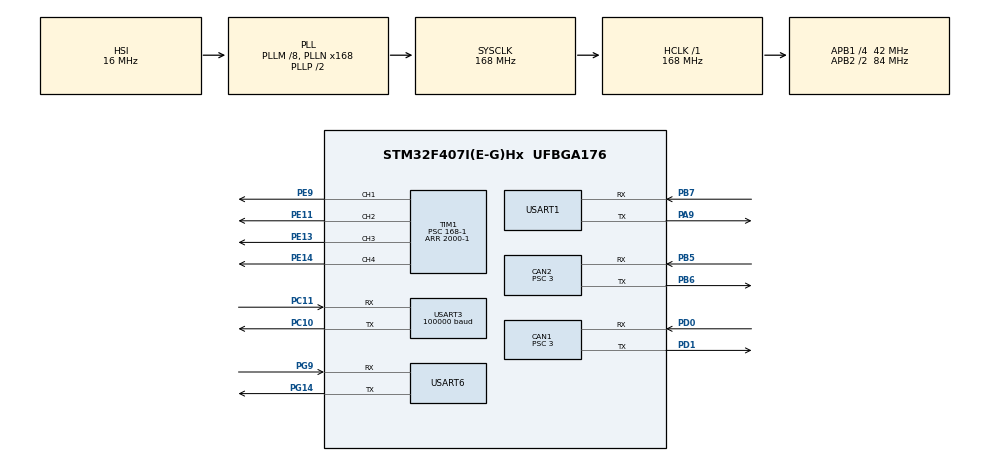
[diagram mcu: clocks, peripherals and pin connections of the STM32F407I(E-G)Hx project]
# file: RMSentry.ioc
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CAN1.BS1=CAN_BS1_10TQ
CAN1.BS2=CAN_BS2_3TQ
CAN1.CalculateTimeQuantum=71.42857142857143
CAN1.Prescaler=3
CAN2.BS1=CAN_BS1_10TQ
CAN2.BS2=CAN_BS2_3TQ
CAN2.CalculateTimeQuantum=71.42857142857143
CAN2.Prescaler=3
Dma.Request0=USART3_RX
Dma.Request1=USART6_RX
Dma.Request2=USART1_RX
Dma.USART1_RX.2.Direction=DMA_PERIPH_TO_MEMORY
Dma.USART1_RX.2.FIFOMode=DMA_FIFOMODE_DISABLE
Dma.USART1_RX.2.Instance=DMA2_Stream2
Dma.USART1_RX.2.MemDataAlignment=DMA_MDATAALIGN_BYTE
Dma.USART1_RX.2.MemInc=DMA_MINC_ENABLE
Dma.USART1_RX.2.Mode=DMA_CIRCULAR
Dma.USART1_RX.2.PeriphDataAlignment=DMA_PDATAALIGN_BYTE
Dma.USART1_RX.2.PeriphInc=DMA_PINC_DISABLE
Dma.USART1_RX.2.Priority=DMA_PRIORITY_MEDIUM
Dma.USART3_RX.0.Direction=DMA_PERIPH_TO_MEMORY
Dma.USART3_RX.0.FIFOMode=DMA_FIFOMODE_DISABLE
Dma.USART3_RX.0.Instance=DMA1_Stream1
Dma.USART3_RX.0.MemDataAlignment=DMA_MDATAALIGN_BYTE
Dma.USART3_RX.0.MemInc=DMA_MINC_ENABLE
Dma.USART3_RX.0.Mode=DMA_CIRCULAR
Dma.USART3_RX.0.PeriphDataAlignment=DMA_PDATAALIGN_BYTE
Dma.USART3_RX.0.PeriphInc=DMA_PINC_DISABLE
Dma.USART3_RX.0.Priority=DMA_PRIORITY_VERY_HIGH
Dma.USART6_RX.1.Direction=DMA_PERIPH_TO_MEMORY
Dma.USART6_RX.1.FIFOMode=DMA_FIFOMODE_DISABLE
Dma.USART6_RX.1.Instance=DMA2_Stream1
Dma.USART6_RX.1.MemDataAlignment=DMA_MDATAALIGN_BYTE
Dma.USART6_RX.1.MemInc=DMA_MINC_ENABLE
Dma.USART6_RX.1.Mode=DMA_CIRCULAR
Dma.USART6_RX.1.PeriphDataAlignment=DMA_PDATAALIGN_BYTE
Dma.USART6_RX.1.PeriphInc=DMA_PINC_DISABLE
Dma.USART6_RX.1.Priority=DMA_PRIORITY_VERY_HIGH
Mcu.Family=STM32F4
Mcu.Name=STM32F407I(E-G)Hx
Mcu.Package=UFBGA176
NVIC.CAN1_RX0_IRQn=true\:0\:0\:false\:false\:true\:true\:true
NVIC.CAN2_RX0_IRQn=true\:0\:0\:false\:false\:true\:true\:true
NVIC.DMA1_Stream1_IRQn=true\:0\:0\:false\:false\:true\:false\:true
NVIC.DMA2_Stream1_IRQn=true\:0\:0\:false\:false\:true\:false\:true
NVIC.DMA2_Stream2_IRQn=true\:0\:0\:false\:false\:true\:false\:true
NVIC.PriorityGroup=NVIC_PRIORITYGROUP_4
NVIC.TIM2_IRQn=true\:0\:0\:false\:false\:true\:true\:true
NVIC.USART1_IRQn=true\:0\:0\:false\:false\:true\:true\:true
NVIC.USART3_IRQn=true\:0\:0\:false\:false\:true\:true\:true
NVIC.USART6_IRQn=true\:0\:0\:false\:false\:true\:true\:true
PA13.Mode=Serial_Wire
PA13.Signal=SYS_JTMS-SWDIO
PA14.Mode=Serial_Wire
PA14.Signal=SYS_JTCK-SWCLK
PA9.Mode=Asynchronous
PA9.Signal=USART1_TX
PB5.Mode=Slave
PB5.Signal=CAN2_RX
PB6.Mode=Slave
PB6.Signal=CAN2_TX
PB7.Mode=Asynchronous
PB7.Signal=USART1_RX
PC10.Mode=Asynchronous
PC10.Signal=USART3_TX
PC11.Mode=Asynchronous
PC11.Signal=USART3_RX
PD0.Mode=Master
PD0.Signal=CAN1_RX
PD1.Mode=Master
PD1.Signal=CAN1_TX
PE11.Signal=S_TIM1_CH2
PE13.Signal=S_TIM1_CH3
PE14.Signal=S_TIM1_CH4
PE9.Signal=S_TIM1_CH1
PG14.Mode=Asynchronous
PG14.Signal=USART6_TX
PG9.Mode=Asynchronous
PG9.Signal=USART6_RX
PH0-OSC_IN.Mode=HSE-External-Oscillator
PH0-OSC_IN.Signal=RCC_OSC_IN
PH1-OSC_OUT.Mode=HSE-External-Oscillator
PH1-OSC_OUT.Signal=RCC_OSC_OUT
ProjectManager.HeapSize=0x200
ProjectManager.StackSize=0x400
ProjectManager.TargetToolchain=MDK-ARM V5.27
RCC.48MHZClocksFreq_Value=84000000
RCC.AHBFreq_Value=168000000
RCC.APB1CLKDivider=RCC_HCLK_DIV4
RCC.APB1Freq_Value=42000000
RCC.APB1TimFreq_Value=84000000
RCC.APB2CLKDivider=RCC_HCLK_DIV2
RCC.APB2Freq_Value=84000000
RCC.APB2TimFreq_Value=168000000
RCC.CortexFreq_Value=168000000
RCC.HCLKFreq_Value=168000000
RCC.HSE_VALUE=25000000
RCC.HSI_VALUE=16000000
RCC.LSE_VALUE=32768
RCC.PLLM=8
RCC.PLLN=168
RCC.SYSCLKFreq_VALUE=168000000
RCC.SYSCLKSource=RCC_SYSCLKSOURCE_PLLCLK
RCC.VCOOutputFreq_Value=336000000
SH.S_TIM1_CH1.0=TIM1_CH1,PWM Generation1 CH1
SH.S_TIM1_CH2.0=TIM1_CH2,PWM Generation2 CH2
SH.S_TIM1_CH3.0=TIM1_CH3,PWM Generation3 CH3
SH.S_TIM1_CH4.0=TIM1_CH4,PWM Generation4 CH4
STMicroelectronics.X-CUBE-ALGOBUILD.1.3.0.LibraryCcDSPOoLibraryJjDSPOoLibrary=true
TIM1.Channel-PWM\ Generation1\ CH1=TIM_CHANNEL_1
TIM1.Channel-PWM\ Generation2\ CH2=TIM_CHANNEL_2
TIM1.Channel-PWM\ Generation3\ CH3=TIM_CHANNEL_3
TIM1.Channel-PWM\ Generation4\ CH4=TIM_CHANNEL_4
TIM1.Period=2000-1
TIM1.Prescaler=168-1
TIM2.Period=5000-1
TIM2.Prescaler=84-1
USART1.VirtualMode=VM_ASYNC
USART3.BaudRate=100000
USART3.Parity=PARITY_EVEN
USART3.VirtualMode=VM_ASYNC
USART3.WordLength=WORDLENGTH_9B
USART6.VirtualMode=VM_ASYNC
VP_STMicroelectronics.X-CUBE-ALGOBUILD_VS_DSPOoLibraryJjLibrary_1.3.0_1.3.0.Mode=DSPOoLibraryJjLibrary
VP_TIM1_VS_ClockSourceINT.Mode=Internal
VP_TIM2_VS_ClockSourceINT.Mode=Internal
board=custom

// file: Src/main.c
/* USER CODE BEGIN Header */
/**
  ******************************************************************************
  * @file           : main.c
  * @brief          : Main program body
  ******************************************************************************
  * @attention
  *
  * <h2><center>&copy; Copyright (c) 2024 STMicroelectronics.
  * All rights reserved.</center></h2>
  *
  * This software component is licensed by ST under BSD 3-Clause license,
  * the "License"; You may not use this file except in compliance with the
  * License. You may obtain a copy of the License at:
  *                        opensource.org/licenses/BSD-3-Clause
  *
  ******************************************************************************
  */
/* USER CODE END Header */

#include "main.h"
#include "can.h"
#include "dma.h"
#include "tim.h"
#include "usart.h"
#include "gpio.h"

/* USER CODE BEGIN Includes */
#include "bsp_can.h"
#include "CAN_receive.h"
#include "rc_receive.h"
#include "chassis_task.h"
#include "gimbal_task.h"
#include "shoot_task.h"
#include "rc_task.h"
#include "arm_math.h"
#include "jy901.h"
#include "detection_task.h"
#include "demo.h"

int tim_watch=0;
int filter_d_k=0;
/* USER CODE END Includes */

/* USER CODE BEGIN PTD */
int setpwm=1992;
/* USER CODE END PTD */

/* USER CODE BEGIN PD */
struct FILE{int handle;};
int fputc(int ch,struct FILE* f)
{
	HAL_UART_Transmit(&huart1,(uint8_t*)&ch,1,0xffff);
	return ch;
}
float feedback_k=0;
int16_t feedback_output=0;
/* USER CODE END PD */

void SystemClock_Config(void);

/* USER CODE BEGIN 0 */
extern int16_t target_position;
const int length =3;
int16_t rpm_boxs[length]={0};
int16_t targetspeedMA=0;
void HAL_TIM_PeriodElapsedCallback(TIM_HandleTypeDef* htim)
{
	if(htim->Instance==TIM2)
	{
		tim_watch++;
		//printf("%d,%d\n",keyboard_user.pitch,keyboard_user.yaw);
		//__HAL_TIM_SET_COMPARE(&htim1,TIM_CHANNEL_4,setpwm);
		Demo();
	  //__HAL_TIM_SET_COMPARE(&htim1,TIM_CHANNEL_1,setpwm);
////	  __HAL_TIM_SET_COMPARE(&htim1,TIM_CHANNEL_2,setpwm);
//	  __HAL_TIM_SET_COMPARE(&htim1,TIM_CHANNEL_3,setpwm);
//	  __HAL_TIM_SET_COMPARE(&htim1,TIM_CHANNEL_4,setpwm);
		//Printf_ChassisMessage(rc_user.x);
		//Detection_RobotPowerTask();
//		Printf_ChassisMessage(rc_user.x);
//		static unsigned short last_rc_user_x_yaw_value=0;
//		feedback_output=(rc_user.yaw-last_rc_user_x_yaw_value)*feedback_k;
//		static int16_t last_rc_user_yaw=0;
//	    static uint8_t getlengthMA=0;
//	    static float filter_boxsMA[30];
//		static float filter_d=0;
//		if(tim_watch>=4)
//		{
//
//			float d=rc_user.yaw-last_rc_user_yaw;
//			filter_d=Smoothing_filter_f32(d,&getlengthMA,filter_boxsMA,30);
//			//printf("%d,%d,%f\n",rc_user.yaw,rc_user.pitch,filter_d*1000);
//			last_rc_user_yaw=rc_user.yaw;
//			tim_watch=0;
//		}
//		int16_t yaw_output=Yaw_Gimbal_Task(rc_user.yaw);
//	    CAN_cmd_gimbal(yaw_output+filter_d*filter_d_k,0, 0, 0);
//		printf("%d,%d\n",rc_user.yaw,yaw_gimbal_motor.basic_data.ecd);
		//printf("%d,%d,%d\n",rc_user.yaw,rc_user.pitch,(rc_user.yaw-rc_user.last_yaw)*1000);
//	    int16_t yaw_output=Yaw_Gimbal_Task(rc_user.yaw);
//		CAN_cmd_gimbal(yaw_output+feedback_output,0, 0, 0);//yaw_output+
//		printf("%d,%d,%d\n",rc_user.yaw,yaw_gimbal_motor.basic_data.ecd,feedback_output);
//		last_rc_user_x_yaw_value=rc_user.yaw;
	    //printf("%d,%d,%d\n",m3508_id2.basic_data.speed_rpm,filter_rpm,rc_user.x);
		//printf("%f\n",pitch_cos);
		//printf("%f\n",mycos);
		//printf("%d,%d,%d,%d\n",yaw_gimbal_motor.basic_data.ecd,target_position,pitch_gimbal_motor.basic_data.ecd,rc_user.pitch);
		//printf("%f,%f,%f\n",angleboxs[0],angleboxs[1],angleboxs[2]);
		//printf("%d,%d\n",yaw_gimbal_motor.basic_data.ecd,YAW_MEDIAN);
		//printf("%d,%d\n",yaw_gimbal_motor.basic_data.ecd,rc_user.yaw);
		//printf("%d,%d\n",pitch_gimbal_motor.basic_data.ecd,rc_user.pitch);
		//printf("%d,%d\n",keyboard_user.pitch,keyboard_user.yaw);
//	   M3508_GetBasicData(&m3508_id3);
//	   targetspeedMA=rc_user.x;
//	   int16_t set_currentMA=M3508_SpeedLoopPIDController(&(m3508_id3.speed_control_data), m3508_id3.basic_data.speed_rpm, targetspeedMA);
//	   CAN_cmd_chassis(0,0,set_currentMA,0);
//	   printf("%d,%d\n",targetspeedMA,m3508_id3.basic_data.speed_rpm);

	}
}
/* USER CODE END 0 */

int main(void)
{

  /* MCU Configuration--------------------------------------------------------*/

  /* Reset of all peripherals, Initializes the Flash interface and the Systick. */
  HAL_Init();

  /* Configure the system clock */
  SystemClock_Config();

  /* Initialize all configured peripherals */
  MX_GPIO_Init();
  MX_DMA_Init();
  MX_TIM1_Init();
  MX_TIM2_Init();
  MX_CAN1_Init();
  MX_CAN2_Init();
  MX_USART1_UART_Init();
  MX_USART3_UART_Init();
  MX_USART6_UART_Init();
  /* USER CODE BEGIN 2 */
  JY901_Init();
  can_filter_init();
  HAL_TIM_Base_Start_IT(&htim2);//任务定时器
  RC_Receive_Init();
  Chassis_Init();
  Gimbal_Init();
  Shoot_Init();
//   HAL_TIM_Base_Start(&htim1);
//  HAL_TIM_PWM_Start(&htim1,TIM_CHANNEL_1);//1160~2000
//  HAL_TIM_PWM_Start(&htim1,TIM_CHANNEL_2);//1160~2000
//  HAL_TIM_PWM_Start(&htim1,TIM_CHANNEL_3);//1100~1993
//  HAL_TIM_PWM_Start(&htim1,TIM_CHANNEL_4);//1100~1993
//  __HAL_TIM_SET_COMPARE(&htim1,TIM_CHANNEL_3,setpwm);
//    __HAL_TIM_SET_COMPARE(&htim1,TIM_CHANNEL_4,setpwm);
  RC_TaskInit();
  Detection_TaskInit();
  ROS_TaskInit();
  ROS_Receive_Init();
  /* USER CODE END 2 */
  AutoAim_TaskInit();

  /* Infinite loop */
  while (1)
  {

  }
}

void SystemClock_Config(void)
{
  RCC_OscInitTypeDef RCC_OscInitStruct = {0};
  RCC_ClkInitTypeDef RCC_ClkInitStruct = {0};

  /** Configure the main internal regulator output voltage
  */
  __HAL_RCC_PWR_CLK_ENABLE();
  __HAL_PWR_VOLTAGESCALING_CONFIG(PWR_REGULATOR_VOLTAGE_SCALE1);
  /** Initializes the CPU, AHB and APB busses clocks
  */
  RCC_OscInitStruct.OscillatorType = RCC_OSCILLATORTYPE_HSI;
  RCC_OscInitStruct.HSIState = RCC_HSI_ON;
  RCC_OscInitStruct.HSICalibrationValue = RCC_HSICALIBRATION_DEFAULT;
  RCC_OscInitStruct.PLL.PLLState = RCC_PLL_ON;
  RCC_OscInitStruct.PLL.PLLSource = RCC_PLLSOURCE_HSI;
  RCC_OscInitStruct.PLL.PLLM = 8;
  RCC_OscInitStruct.PLL.PLLN = 168;
  RCC_OscInitStruct.PLL.PLLP = RCC_PLLP_DIV2;
  RCC_OscInitStruct.PLL.PLLQ = 4;
  if (HAL_RCC_OscConfig(&RCC_OscInitStruct) != HAL_OK)
  {
    Error_Handler();
  }
  /** Initializes the CPU, AHB and APB busses clocks
  */
  RCC_ClkInitStruct.ClockType = RCC_CLOCKTYPE_HCLK|RCC_CLOCKTYPE_SYSCLK
                              |RCC_CLOCKTYPE_PCLK1|RCC_CLOCKTYPE_PCLK2;
  RCC_ClkInitStruct.SYSCLKSource = RCC_SYSCLKSOURCE_PLLCLK;
  RCC_ClkInitStruct.AHBCLKDivider = RCC_SYSCLK_DIV1;
  RCC_ClkInitStruct.APB1CLKDivider = RCC_HCLK_DIV4;
  RCC_ClkInitStruct.APB2CLKDivider = RCC_HCLK_DIV2;

  if (HAL_RCC_ClockConfig(&RCC_ClkInitStruct, FLASH_LATENCY_5) != HAL_OK)
  {
    Error_Handler();
  }
}

/* USER CODE BEGIN 4 */
void HAL_UART_RxCpltCallback(UART_HandleTypeDef *UartHandle)
{
	if(UartHandle->Instance==USART3)
	{
		//RC_Receive();
	}
	if(UartHandle->Instance==USART6)
	{
//		JY901_Process(&JY901_data);
//		JY901_ExpandAngle(&JY901_data);
	}
}
/* USER CODE END 4 */

void Error_Handler(void)
{
}

/************************ (C) COPYRIGHT STMicroelectronics *****END OF FILE****/
